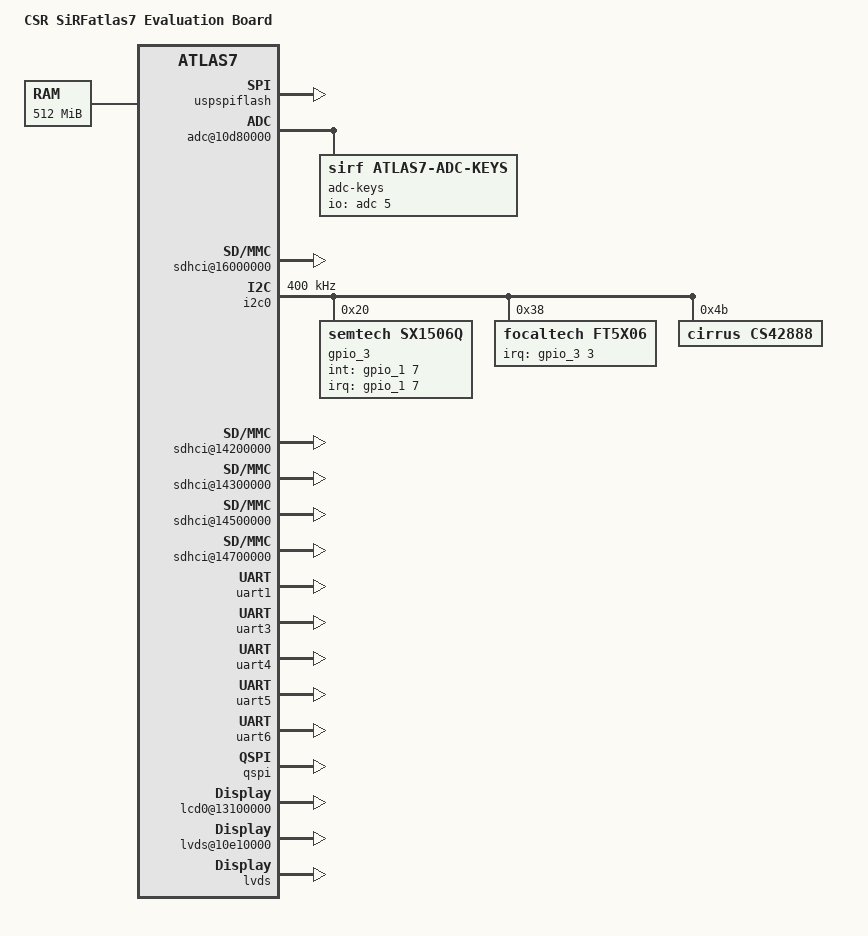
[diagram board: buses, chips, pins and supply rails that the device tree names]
/*
 * DTS file for CSR SiRFatlas7 Evaluation Board
 *
 * Copyright (c) 2012 Cambridge Silicon Radio Limited, a CSR plc group company.
 *
 * Licensed under GPLv2 or later.
 */

/dts-v1/;

/include/ "atlas7.dtsi"
#include <dt-bindings/input/input.h>

/ {
	model = "CSR SiRFatlas7 Evaluation Board";
	compatible = "sirf,atlas7-cb", "sirf,atlas7";

	chosen {
		/* bootargs = "console=ttySiRF1,115200 earlyprintk lpj=7970816
				initrd=0x43008000,0x500000"; */
		bootargs = "console=ttySiRF1,115200 earlyprintk";
	};

	memory {
		device_type = "memory";
		reg = <0x40000000 0x20000000>; /* 512M for PXP */
	};

	aliases {
		display0 = &lvds;
	};

	sound-internal-audio {
		compatible = "simple-audio-card";
		simple-audio-card,routing =
			"Headphone Jack", "LOUT0",
			"LIN0", "Line In Jack";
		simple-audio-card,widgets =
			"Headphone", "Headphone Jack",
			"Line", "Line In Jack";
		simple-audio-card,codec {
			sound-dai = <&atlas7_codec>;
		};
		simple-audio-card,cpu {
			sound-dai = <&atlas7_iacc>;
		};
	};

	reserved-memory {
		#address-cells = <1>;
		#size-cells = <1>;
		ranges;

		/* global region for contiguous allocations */
		linux,cma {
			compatible = "shared-dma-pool";
			reusable;
			alloc-ranges = <0x4BC00000 0x4000000>;
			size = <0x4000000>;
			alignment = <0x2000>;
			linux,cma-default;
		};

		ipc_mem0: ns_m3_mem@4fd00000 {
			compatible = "sirf,reserved-memory";
			reg = <0x4FD00000 0x10000>;
		};

		ipc_mem1: ns_kal_mem@4fd10000 {
			compatible = "sirf,reserved-memory";
			reg = <0x4FD10000 0x10000>;
		};

		nanddisk_reserved: nanddisk@46000000 {
			reg = <0x46000000 0x200000>;
			no-map;
		};

		multimedia_reserved: multimedia@58800000 {
			reg = <0x58800000 0x6000000>;
			no-map;
		};

		cm3_reserved: cm3@4fe00000 {
			reg = <0x4fe00000 0x100000>;
			no-map;
		};
	};

	bt_sco: bt_sco@0 {
		#sound-dai-cells = <0>;
		compatible = "bt-sco";
		status = "okay";
	};

	sirf-bt-sco {
		compatible = "simple-audio-card";
		simple-audio-card,format = "dsp_a";
		simple-audio-card,cpu {
			sound-dai = <&usp3>;
		};
		simple-audio-card,codec {
			sound-dai = <&bt_sco>;
			bitclock-master;
			frame-master;
		};
	};

	sound-hdmi {
		compatible = "sirf,hdmi-card";
		i2s-controller = <&i2s>;
		audio-codec = <&cs42888>;
		ext-rst = <&gpio_3 0 0>;
		sw1-sel = <&gpio_3 8 0>;
		sw2-sel = <&gpio_3 9 0>;
		sw3-sel = <&gpio_3 14 0>;
	};

	noc {
		audiom {
			timer@10dc0000 {
				status = "okay";
			};

			timerb@10dc8000 {
				status = "disabled";
			};

			usp1: usp@10d30000 {
				status = "disabled";
				compatible = "sirf,prima2-usp-pcm";
				#sound-dai-cells = <0>;
				pinctrl-names = "default";
				pinctrl-0 = <&audio_uart1_pmx>;
			};

			usp2: usp@10d40000 {
				status = "okay";
				compatible = "sirf,atlas7-usp-spi";
				pinctrl-0 = <&audio_uart2_pmx0>;
				pinctrl-names = "default";
				fifosize = <512>;
				uspspiflash: mxicy@0{
					status = "okay";
					compatible = "mxicy,mx25l6405d";
					reg = <0>;
					spi-max-frequency = <37500000>;
					spi-cpha;
					spi-cpol;
					#address-cells = <1>;
					#size-cells = <1>;
					partitions@0 {
						label = "myspiboot";
						reg = <0x0 0x800000>;
					};
				};
			};

			adc@10d80000 {
				adc-keys {
					compatible = "sirf,atlas7-adc-keys";
					interrupts = <0 32 0>;
					io-channels = <&adc 5>;
					io-channel-names = "adc_keys";

					button-s2 {
						label = "Volume Up";
						linux,code = <KEY_VOLUMEUP>;
						voltage = <1272>;
					};

					button-s7 {
						label = "Volume Down";
						linux,code = <KEY_VOLUMEDOWN>;
						voltage = <1211>;
					};

					button-s1 {
						label = "Brightness Up";
						linux,code = <KEY_BRIGHTNESSUP>;
						voltage = <1085>;
					};

					button-s4 {
						label = "Brightness Down";
						linux,code =
							<KEY_BRIGHTNESSDOWN>;
						voltage = <953>;
					};

					button-s5 {
						label = "Home";
						linux,code = <KEY_HOMEPAGE>;
						voltage = <1368>;
					};

					button-s6 {
						label = "Back";
						linux,code = <KEY_BACK>;
						voltage = <1416>;
					};
				};
			};

			pulsec@10d90000 {
				status = "disabled";
				pinctrl-names = "default";
				pinctrl-0 = <&ps_pmx>;
			};

			vip0@10db0000 {
				status = "okay";
				port {
					#address-cells = <1>;
					#size-cells = <0>;
					vip0_0: endpoint@0 {
						reg = <0>;
						hsync-active = <0>;
						vsync-active = <0>;
						remote-endpoint = <&cvd_1>;
					};
				};
			};

			cvd@10db2000 {
				compatible = "sirf,cvd";
					input-number = <2>;
					inputs = <&cvbs0 &cvbs1>;
					cvbs0: cvbs@0 {
						input-name = "camera";
						input-id = <0>;
					};
					cvbs1: cvbs@1 {
						input-name = "dvd";
						input-id = <1>;
					};
					port {
						cvd_1: endpoint {
						remote-endpoint = <&vip0_0>;
					};
				};
			};
		};

		mediam {
			nand@17050000 {
				memory-region = <&nanddisk_reserved>;
			};

			multimedia@15000000 {
				memory-region = <&multimedia_reserved>;
			};

			sdhci@16000000 {
				pinctrl-names = "default";
				pinctrl-0 = <&sd0_pmx>;
				status = "okay";
			};

			i2c0: i2c@17020000 {
				status = "okay";
				pinctrl-names = "default";
				pinctrl-0 = <&i2c0_pmx>;
				clock-frequency = <400000>;

				gpio_3: i2c_gpio_expander@20{
					#gpio-cells = <2>;
					#interrupt-cells = <2>;
					compatible = "semtech,sx1506q";
					reg = <0x20>;
					interrupt-parent = <&gpio_1>;
					interrupts = <7 4>;
					int-gpios = <&gpio_1 7 0>;
					pulldn_ena = <0xff>;

					gpio-controller;
					interrupt-controller;
				};

				ft5x06@38{
					compatible = "focaltech,ft5x06";
					interrupt-parent = <&gpio_3>;
					interrupts = <3 0x03>;
					reg = <0x38>;
				};

				cs42888: cs42888@4B {
					compatible = "cirrus,cs42888";
					reg = <0x4B>;
					clocks = <&car 7>;
					clock-names = "mclk";
					VA-supply = <0>;
					VD-supply = <0>;
					VLS-supply = <0>;
					VLC-supply = <0>;
				};
			};
		};

		vdifm {
			sdhci@14200000 {
				status = "okay";
				pinctrl-names = "default";
				pinctrl-0 = <&sd2_pmx0>;
			};

			sdhci@14300000 {
				status = "okay";
				pinctrl-names = "default";
				pinctrl-0 = <&sd3_pmx>;
			};

			sdhci@14500000 {
				status = "okay";
				pinctrl-names = "default";
				pinctrl-0 = <&sd5_pmx>;
			};

			sdhci@14700000 {
				status = "okay";
			};
		};

		sirf-backlight {
			compatible = "pwm-backlight";
			pinctrl-names = "default";
			pinctrl-0 = <&pw_backlight_pmx1>;
			pwms = <&pwm 3 50000>;
			brightness-levels = <0 48 56 64 96 112 128 255>;
			default-brightness-level = <6>;
		};

		gnssm {
			uart1: uart@18020000 {
				status = "okay";
			};

			uart0: uart@18010000 {
				status = "disabled";
				pinctrl-0 = <&uart0_pmx>;
				pinctrl-names = "default";
				sirf,uart-has-rtscts;
                        };

			uart2: uart@18030000 {
				status = "disabled";
				pinctrl-0 = <&uart2_pmx>;
				pinctrl-names = "default";
			};

			uart3: uart@18040000 {
				status = "okay";
				pinctrl-0 = <&uart3_nopause_pmx0>;
				pinctrl-names = "default";
			};

			uart4: uart@18050000 {
				status = "okay";
				pinctrl-0 = <&uart4_pmx1>;
				pinctrl-names = "default";
			};

			uart5: uart@18060000 {
				status = "okay";
			};

			spi1: spi@18200000 {
				status = "disabled";
				pinctrl-0 = <&sp1_spi_pmx>;
				pinctrl-names = "default";
				spiflash: mxicy@0{
					compatible = "mxicy,mx25l6405d";
					reg = <0>;
					spi-max-frequency = <37500000>;
					spi-cpha;
					spi-cpol;
					#address-cells = <1>;
					#size-cells = <1>;
					partitions@0 {
						label = "myspiboot";
						reg = <0x0 0x800000>;
					};
				};
			};
		};

		btm {
			usp3: usp@11001000 {
				status = "okay";
				#sound-dai-cells = <0>;
			};

			uart6: uart@11000000 {
				status = "okay";
				sirf,uart-has-rtscts;
			};
			a7ca_bt {
				compatible = "sirf,a7ca_bt";
				clocks = <&car 129>, <&car 137>, <&car 133>;
				clock-names="a7ca_btss","a7ca_btslow","a7ca_io";
			};
		};

		rtcm {
			qspi: flash@188B0000 {
				status = "okay";
				pinctrl-names = "default";
				pinctrl-0 = <&sp0_qspi_pmx>;
				clock-rate = <20000000>;        /* 20MHz */
			};
			rtc-iobg@18840000 {
				pwrc@3000 {
					gps-power {
					   status = "okay";
					   pinctrl-names = "default";
					   pinctrl-0 = <&gn_trg_spi_pmx0 &gn_trg_pmx0>;
					};
				};
			};
		};

		ipc@13240000 {
			ns_m3_rproc@0 {
				memory-region = <&ipc_mem0>;
				status = "okay";
			};

			ns_m3_rproc@1 {
				status = "disabled";
			};

			ns_kal_rproc@0 {
				memory-region = <&ipc_mem1>;
				status = "okay";
			};

			ns_kal_rproc@1 {
				status = "disabled";
			};
		};

		disp-iobg {
			lcd0@13100000 {
				status = "okay";
				pinctrl-names = "default";
				pinctrl-0 = <&ld_ldd_pmx &ld_ldd_fck_pmx
					&ld_ldd_lck_pmx>;
			};
			lvds@10e10000 {
				status = "okay";
				pinctrl-names = "default";
				pinctrl-0 = <&lvds_analog_pmx>;
				/* set to SYN or SLAVE for lvds panel */
				lvds-mode = "SYN";
			};
		};

		rgb: display@0 {
			compatible = "rgb-panel";
			source = "rgb.0";
			status = "disabled";

			data-lines  = <24>;

			display-timings {
				native-mode = <&timing0>;
				timing0: timing0 {
					clock-frequency = <40000000>;
					hactive = <800>;
					vactive = <480>;
					hfront-porch = <210>;
					hback-porch = <45>;
					hsync-len = <1>;
					vback-porch = <22>;
					vfront-porch = <132>;
					vsync-len = <1>;
					hsync-active = <0>;
					vsync-active = <0>;
					de-active = <1>;
					pixelclk-active = <1>;
				};
			};
		};

		lvds: display@1 {
			compatible = "lvds-panel";
			source = "lvds.0";
			status = "okay";

			data-lines  = <24>;

			display-timings {
				native-mode = <&timing1>;
				timing1: timing1 {
					clock-frequency = <60000000>;
					hactive = <1024>;
					vactive = <600>;
					hfront-porch = <220>;
					hback-porch = <100>;
					hsync-len = <1>;
					vback-porch = <10>;
					vfront-porch = <25>;
					vsync-len = <1>;
					hsync-active = <0>;
					vsync-active = <0>;
					de-active = <1>;
					pixelclk-active = <1>;
				};
			};
		};
	};
};
